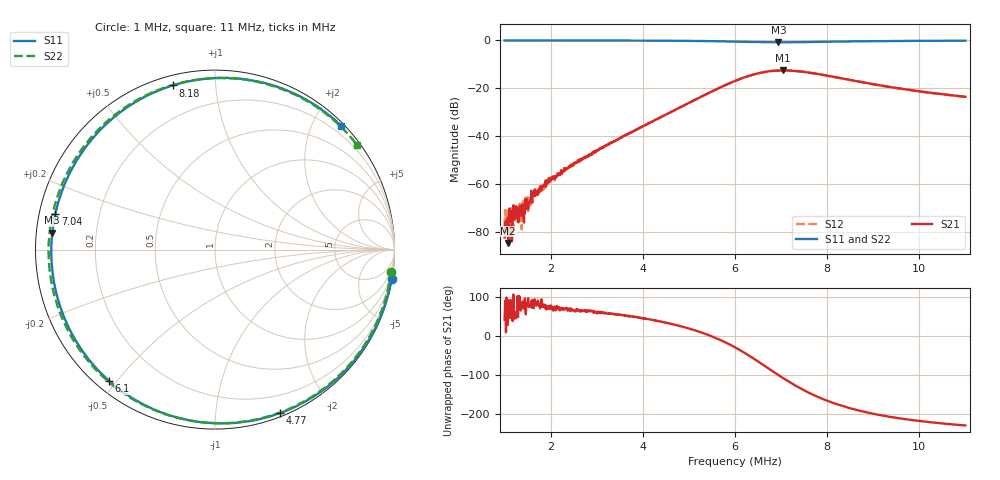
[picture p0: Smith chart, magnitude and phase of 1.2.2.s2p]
# MHz S DB R 50
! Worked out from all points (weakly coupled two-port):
!   1001 points, 1 MHz to 11 MHz, reference 50 ohm
!   highest |S21| = -12.51 dB at 7.04 MHz (marker M1); lowest = -84.5 dB at 1.08 MHz (marker M2)
!   lowest |S11| = -0.8 dB at 6.94 MHz (marker M3), VSWR 21.55, Z = 2.33 + j2.58 ohm
!   |S11| at or under -10 dB: nowhere
!   |S22| runs from -0.7 to -0.1 dB; largest |S21 - S12| = 0.0025
!   S11 on the Smith chart (normalised r, x): 1 MHz: 0, -12; 4.77 MHz: 0.03, -1.47; 6.1 MHz: 0.04, -0.48; 7.04 MHz: 0.05, +0.11; 8.18 MHz: 0.05, +0.77; 11 MHz: 0.05, +2.45
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1  -0.02 -9.5  -82.26 42.4  -77.83 -13.2  -0.10 -7.2
1.08  -0.03 -10.3  -84.47 81.5  -70.96 44.2  -0.10 -7.7
1.12  -0.03 -10.7  -73.88 47.6  -73.62 73.5  -0.10 -8.0
1.15  -0.03 -10.9  -72.28 48.8  -75.78 10.1  -0.10 -8.2
1.18  -0.03 -11.2  -73.69 39.6  -76.27 58.7  -0.10 -8.4
1.33  -0.04 -12.6  -69.08 72.0  -68.14 75.1  -0.11 -9.5
1.62  -0.04 -15.5  -64.21 89.8  -63.65 82.4  -0.10 -11.6
2.01  -0.04 -19.5  -58.47 73.6  -57.44 71.7  -0.10 -14.6
2.67  -0.06 -27.2  -49.91 67.0  -49.66 68.2  -0.11 -20.6
4.34  -0.13 -56.5  -32.54 39.1  -32.52 38.7  -0.13 -44.1
4.77  -0.18 -68.3  -28.31 27.5  -28.30 27.3  -0.16 -54.5
5.41  -0.30 -92.1  -22.12 4.0  -22.15 3.6  -0.23 -77.3
6  -0.50 -122.9  -16.91 -28.0  -16.93 -28.5  -0.40 -111.1
6.1  -0.54 -129.0  -16.15 -34.6  -16.17 -35.2  -0.43 -118.4
6.56  -0.73 -159.5  -13.47 -68.8  -13.48 -69.4  -0.60 -157.6
6.94  -0.81 174.1  -12.56 -99.0  -12.57 -99.5  -0.67 167.2
7.04  -0.81 167.3  -12.51 -106.6  -12.53 -107.2  -0.66 158.3
7.35  -0.76 147.2  -12.82 -128.7  -12.83 -129.3  -0.60 133.1
7.67  -0.66 128.7  -13.61 -148.3  -13.62 -148.9  -0.51 111.8
8.18  -0.49 104.5  -15.35 -172.6  -15.37 -173.2  -0.38 87.0
9.34  -0.26 69.4  -19.36 154.3  -19.38 153.8  -0.22 55.9
11  -0.13 44.3  -23.54 131.7  -23.56 131.2  -0.15 36.3
